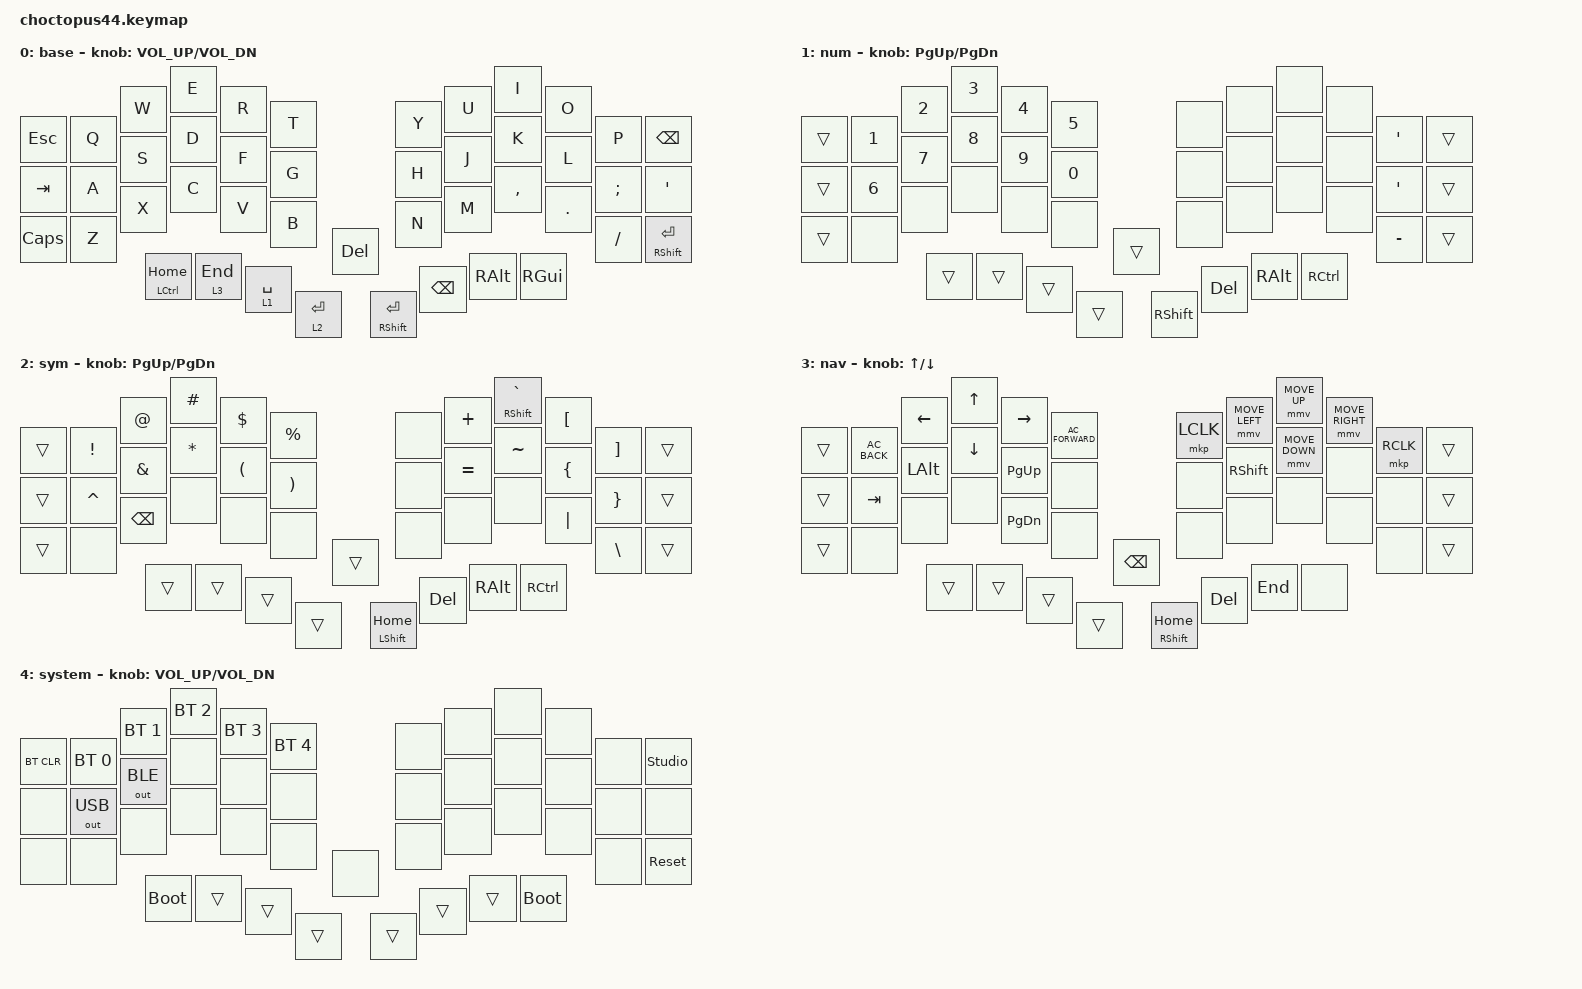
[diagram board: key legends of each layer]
#include <behaviors.dtsi>
#include <dt-bindings/zmk/keys.h>
#include <dt-bindings/zmk/bt.h>
#include <dt-bindings/zmk/outputs.h>
#include <dt-bindings/zmk/pointing.h>

&mt { tapping-term-ms = <200>; };
&lt { tapping-term-ms = <200>; };

/ {
  conditional_layers {
    compatible = "zmk,conditional-layers";
    adjust { if-layers = <1 2>; then-layer = <4>; };
  };

  keymap {
    compatible = "zmk,keymap";

    base {
      bindings = <
&kp ESC   &kp Q  &kp W  &kp E  &kp R  &kp T               &kp Y  &kp U  &kp I      &kp O    &kp P     &kp BSPC
&kp TAB   &kp A  &kp S  &kp D  &kp F  &kp G               &kp H  &kp J  &kp K      &kp L    &kp SEMI  &kp SQT
&kp CAPS  &kp Z  &kp X  &kp C  &kp V  &kp B    &kp DEL    &kp N  &kp M  &kp COMMA  &kp DOT  &kp FSLH  &mt RSHFT RET
      &mt LCTRL HOME  &lt 3 END  &lt 1 SPACE  &lt 2 RET       &mt RSHFT RET &kp BSPC &kp RALT &kp RGUI
      >;
      sensor-bindings = <&inc_dec_kp C_VOL_UP C_VOL_DN>;
    };

    num {
      bindings = <
&trans  &kp N1  &kp N2  &kp N3  &kp N4  &kp N5             &none  &none  &none  &none  &kp SQT    &trans
&trans  &kp N6  &kp N7  &kp N8  &kp N9  &kp N0             &none  &none  &none  &none  &kp SQT    &trans
&trans  &none   &none   &none   &none   &none    &trans    &none  &none  &none  &none  &kp MINUS  &trans
                    &trans  &trans  &trans  &trans             &kp RSHFT &kp DEL &kp RALT &kp RCTRL
      >;
      sensor-bindings = <&inc_dec_kp PG_UP PG_DN>;
    };

    sym {
      bindings = <
&trans  &kp EXCL   &kp AT    &kp HASH  &kp DLLR  &kp PRCNT             &none  &kp PLUS   &mt RSHFT GRAVE  &kp LBKT  &kp RBKT  &trans
&trans  &kp CARET  &kp AMPS  &kp STAR  &kp LPAR  &kp RPAR              &none  &kp EQUAL  &kp TILDE        &kp LBRC  &kp RBRC  &trans
&trans  &none      &kp BSPC  &none     &none     &none      &trans     &none  &none      &none            &kp PIPE  &kp BSLH  &trans
                       &trans  &trans  &trans  &trans                     &mt LSHFT HOME &kp DEL &kp RALT &kp RCTRL
      >;
      sensor-bindings = <&inc_dec_kp PG_UP PG_DN>;
    };

    nav {
      bindings = <
&trans  &kp C_AC_BACK  &kp LEFT  &kp UP    &kp RIGHT  &kp C_AC_FORWARD             &mkp LCLK  &mmv MOVE_LEFT  &mmv MOVE_UP    &mmv MOVE_RIGHT  &mkp RCLK  &trans
&trans  &kp TAB        &kp LALT  &kp DOWN  &kp PG_UP  &none                        &none      &kp RSHFT       &mmv MOVE_DOWN  &none            &none      &trans
&trans  &none          &none     &none     &kp PG_DN  &none            &kp BSPC    &none      &none           &none           &none            &none      &trans
                          &trans  &trans  &trans  &trans                              &mt RSHFT HOME &kp DEL &kp END &none
      >;
      sensor-bindings = <&inc_dec_kp UP DOWN>;
    };

    system {
      bindings = <
&bt BT_CLR  &bt BT_SEL 0  &bt BT_SEL 1  &bt BT_SEL 2  &bt BT_SEL 3  &bt BT_SEL 4            &none  &none  &none  &none  &none  &studio_unlock
&none       &out OUT_USB  &out OUT_BLE  &none         &none         &none                   &none  &none  &none  &none  &none  &none
&none       &none         &none         &none         &none         &none        &none      &none  &none  &none  &none  &none  &sys_reset
                                 &bootloader  &trans  &trans  &trans                            &trans  &trans  &trans  &bootloader
      >;
      sensor-bindings = <&inc_dec_kp C_VOL_UP C_VOL_DN>;
    };
  };
};
